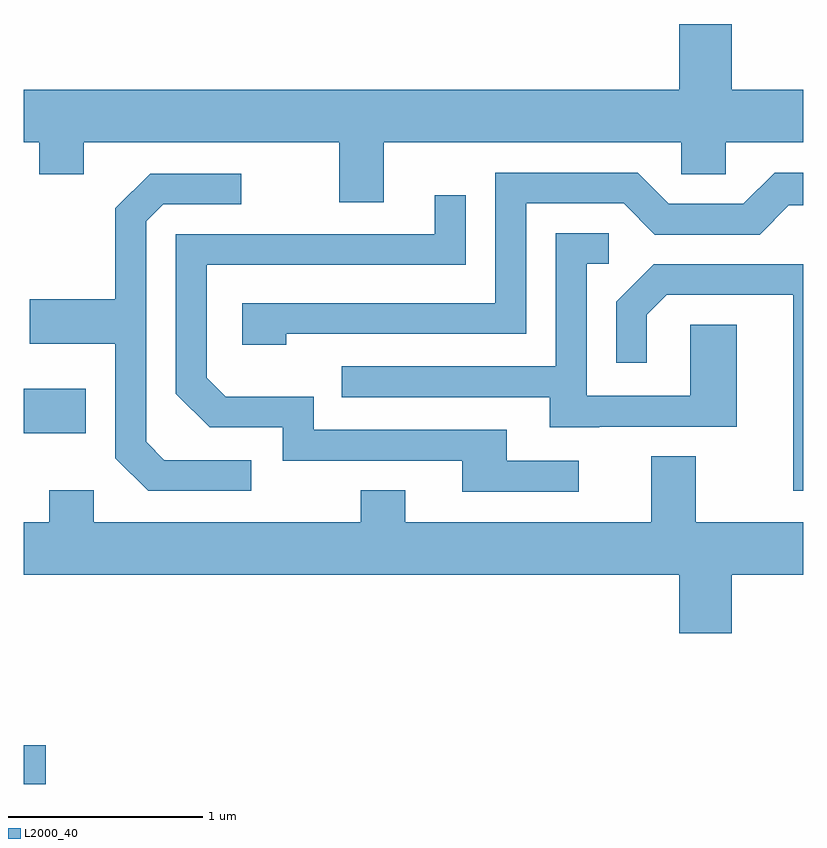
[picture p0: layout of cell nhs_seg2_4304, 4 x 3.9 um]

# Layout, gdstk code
import gdstk
lib = gdstk.Library(unit=1e-6, precision=1e-09)
def R(c, l, rs):  # rectangles x0, y0, x1, y1
    for r in rs: c.add(gdstk.rectangle(r[:2], r[2:], *l))
def P(c, l, *ps):  # polygons
    for p in ps: c.add(gdstk.Polygon(p, *l))
L2000_40 = (2000, 40)

nhs_seg2_4304 = lib.new_cell('nhs_seg2_4304')
R(nhs_seg2_4304, L2000_40, [(311.611,1053.901,311.724,1054.099), (311.611,1055.701,311.929,1055.929)])
P(nhs_seg2_4304, L2000_40, [(313.459,1057.196),(314.986,1057.196),(314.986,1057.031),(315.214,1057.031),(315.214,1057.196),(315.611,1057.196),(315.611,1057.464),(315.244,1057.464),(315.244,1057.802),(314.976,1057.802),(314.976,1057.464),(311.611,1057.464),(311.611,1057.196),(311.691,1057.196),(311.691,1057.031),(311.919,1057.031),(311.919,1057.196),(313.231,1057.196),(313.231,1056.886),(313.459,1056.886)],
  [(312.959,1056.211),(314.189,1056.211),(314.189,1056.881),(314.689,1056.881),(314.849,1056.721),(315.387,1056.721),(315.537,1056.871),(315.611,1056.871),(315.611,1057.039),(315.464,1057.039),(315.304,1056.879),(314.922,1056.879),(314.762,1057.039),(314.031,1057.039),(314.031,1056.369),(312.731,1056.369),(312.731,1056.156),(312.959,1056.156)],
  [(312.778,1055.564),(312.332,1055.564),(312.239,1055.657),(312.239,1056.789),(312.327,1056.876),(312.728,1056.876),(312.728,1057.034),(312.259,1057.034),(312.081,1056.857),(312.081,1056.389),(311.641,1056.389),(311.641,1056.161),(312.081,1056.161),(312.081,1055.574),(312.249,1055.406),(312.778,1055.406)],
  [(314.458,1055.559),(314.089,1055.559),(314.089,1055.719),(313.099,1055.719),(313.099,1055.889),(312.647,1055.889),(312.549,1055.987),(312.549,1056.566),(313.879,1056.566),(313.879,1056.923),(313.721,1056.923),(313.721,1056.724),(312.391,1056.724),(312.391,1055.904),(312.564,1055.731),(312.941,1055.731),(312.941,1055.561),(313.861,1055.561),(313.861,1055.401),(314.458,1055.401)],
  [(314.565,1055.736),(315.269,1055.736),(315.269,1056.259),(315.031,1056.259),(315.031,1055.894),(314.499,1055.894),(314.499,1056.571),(314.613,1056.571),(314.613,1056.729),(314.341,1056.729),(314.341,1056.044),(313.243,1056.044),(313.243,1055.886),(314.311,1055.886),(314.311,1055.731),(314.565,1055.731)],
  [(315.611,1056.569),(314.844,1056.569),(314.651,1056.377),(314.651,1056.063),(314.809,1056.063),(314.809,1056.309),(314.912,1056.411),(315.561,1056.411),(315.561,1055.406),(315.611,1055.406)],
  [(314.976,1054.676),(315.244,1054.676),(315.244,1054.976),(315.611,1054.976),(315.611,1055.244),(315.059,1055.244),(315.059,1055.584),(314.831,1055.584),(314.831,1055.244),(313.569,1055.244),(313.569,1055.409),(313.341,1055.409),(313.341,1055.244),(311.969,1055.244),(311.969,1055.409),(311.741,1055.409),(311.741,1055.244),(311.611,1055.244),(311.611,1054.976),(314.976,1054.976)])

lib.write_gds('nhs_seg2_4304.gds')
